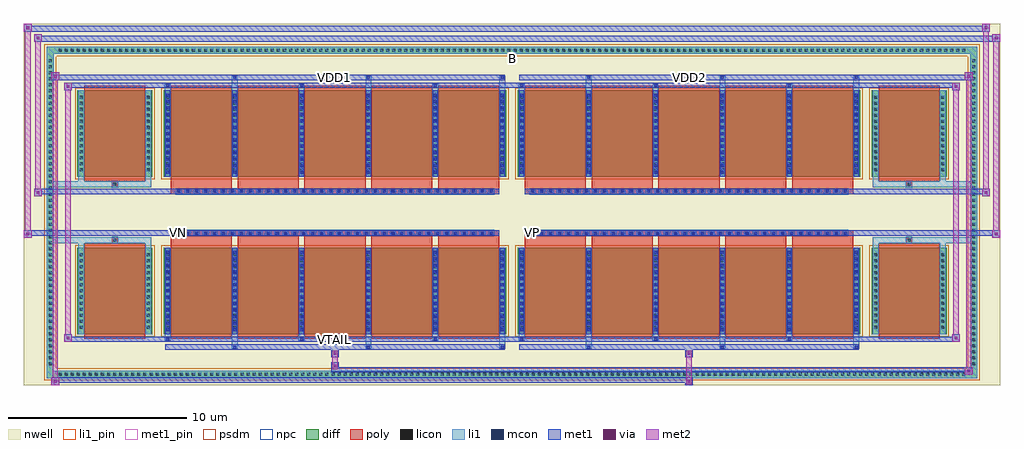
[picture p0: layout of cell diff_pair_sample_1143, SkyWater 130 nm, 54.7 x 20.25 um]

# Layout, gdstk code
import gdstk
lib = gdstk.Library(unit=1e-6, precision=5e-09)
def R(c, l, rs):  # rectangles x0, y0, x1, y1
    for r in rs: c.add(gdstk.rectangle(r[:2], r[2:], *l))
def A(c, l, x, y, w, h, nx, ny, dx, dy):  # array of equal rectangles
    R(c, l, [(x+i*dx, y+j*dy, x+i*dx+w, y+j*dy+h) for i in range(nx) for j in range(ny)])
def P(c, l, *ps):  # polygons
    for p in ps: c.add(gdstk.Polygon(p, *l))
nwell = (64, 20)
diff = (65, 20)
poly = (66, 20)
licon = (66, 44)
li1_pin = (67, 16)
li1 = (67, 20)
mcon = (67, 44)
met1_pin = (68, 16)
met1 = (68, 20)
via = (68, 44)
met2 = (69, 20)
psdm = (94, 20)
npc = (95, 20)

diff_pair_sample_1143 = lib.new_cell('diff_pair_sample_1143')
R(diff_pair_sample_1143, nwell, [(-27.35,-9.69,27.35,10.56), (-24.67,-7.88,-0.01,-0.8), (0.01,-7.88,24.67,-0.8), (-24.67,0.8,-0.01,7.88), (0.01,0.8,24.67,7.88)])
A(diff_pair_sample_1143, diff, -25.535, -9.29, 0.41, 0.41, 150, 2, 0.34, 18.17)
A(diff_pair_sample_1143, diff, -26.08, -8.705, 0.41, 0.41, 1, 51, 0, 0.34)
A(diff_pair_sample_1143, diff, 25.67, -8.705, 0.41, 0.41, 1, 51, 0, 0.34)
R(diff_pair_sample_1143, diff, [(-25.535,-9.29,25.535,-8.88), (-26.08,-8.705,-25.67,8.705), (25.67,-8.705,26.08,8.705), (-24.36,-6.835,-20.16,-1.985), (-19.52,-6.835,-0.32,-1.985), (0.32,-6.835,19.52,-1.985), (20.16,-6.835,24.36,-1.985), (-24.36,1.985,-20.16,6.835), (-19.52,1.985,-0.32,6.835), (0.32,1.985,19.52,6.835), (20.16,1.985,24.36,6.835), (-25.535,8.88,25.535,9.29)])
P(diff_pair_sample_1143, diff, [(26.08,9.29),(-26.08,9.29),(-26.08,-8.88),(-25.67,-8.88),(-25.67,8.88),(25.67,8.88),(25.67,-8.88),(-25.67,-8.88),(-26.08,-8.88),(-26.08,-9.29),(26.08,-9.29)])
A(diff_pair_sample_1143, poly, -19.13, -7.085, 3.42, 5.35, 5, 2, 3.75, 8.82)
A(diff_pair_sample_1143, poly, 0.71, -7.085, 3.42, 5.35, 5, 2, 3.75, 8.82)
A(diff_pair_sample_1143, poly, -19.13, -1.735, 3.42, 0.405, 5, 2, 3.75, 3.065)
A(diff_pair_sample_1143, poly, 0.71, -1.735, 3.42, 0.405, 5, 2, 3.75, 3.065)
A(diff_pair_sample_1143, poly, -18.835, -1.33, 0.33, 0.33, 36, 2, 0.5, 2.33)
A(diff_pair_sample_1143, poly, 1.005, -1.33, 0.33, 0.33, 36, 2, 0.5, 2.33)
R(diff_pair_sample_1143, poly, [(-23.97,-7.085,-20.55,-1.735), (20.55,-7.085,23.97,-1.735), (-22.425,-1.735,-22.095,-1.405), (-22.425,-1.735,-22.095,-1.405), (22.095,-1.735,22.425,-1.405), (22.095,-1.735,22.425,-1.405), (-19.13,-1.33,-0.71,-1), (0.71,-1.33,19.13,-1), (-19.13,1,-0.71,1.33), (0.71,1,19.13,1.33), (-22.425,1.405,-22.095,1.735), (-22.425,1.405,-22.095,1.735), (22.095,1.405,22.425,1.735), (22.095,1.405,22.425,1.735), (-23.97,1.735,-20.55,7.085), (20.55,1.735,23.97,7.085)])
A(diff_pair_sample_1143, licon, -25.415, -9.17, 0.17, 0.17, 150, 2, 0.34, 18.17)
A(diff_pair_sample_1143, licon, -25.96, -8.585, 0.17, 0.17, 1, 51, 0, 0.34)
A(diff_pair_sample_1143, licon, 25.79, -8.585, 0.17, 0.17, 1, 51, 0, 0.34)
A(diff_pair_sample_1143, licon, -24.22, -6.535, 0.17, 0.17, 1, 13, 0, 0.34)
A(diff_pair_sample_1143, licon, -20.47, -6.535, 0.17, 0.17, 1, 13, 0, 0.34)
A(diff_pair_sample_1143, licon, -19.38, -6.535, 0.17, 0.17, 6, 13, 3.75, 0.34)
A(diff_pair_sample_1143, licon, 0.46, -6.535, 0.17, 0.17, 6, 13, 3.75, 0.34)
A(diff_pair_sample_1143, licon, 20.3, -6.535, 0.17, 0.17, 1, 13, 0, 0.34)
A(diff_pair_sample_1143, licon, 24.05, -6.535, 0.17, 0.17, 1, 13, 0, 0.34)
A(diff_pair_sample_1143, licon, -18.755, -1.25, 0.17, 0.17, 36, 2, 0.5, 2.33)
A(diff_pair_sample_1143, licon, 1.085, -1.25, 0.17, 0.17, 36, 2, 0.5, 2.33)
A(diff_pair_sample_1143, licon, -24.22, 2.285, 0.17, 0.17, 1, 13, 0, 0.34)
A(diff_pair_sample_1143, licon, -20.47, 2.285, 0.17, 0.17, 1, 13, 0, 0.34)
A(diff_pair_sample_1143, licon, -19.38, 2.285, 0.17, 0.17, 6, 13, 3.75, 0.34)
A(diff_pair_sample_1143, licon, 0.46, 2.285, 0.17, 0.17, 6, 13, 3.75, 0.34)
A(diff_pair_sample_1143, licon, 20.3, 2.285, 0.17, 0.17, 1, 13, 0, 0.34)
A(diff_pair_sample_1143, licon, 24.05, 2.285, 0.17, 0.17, 1, 13, 0, 0.34)
R(diff_pair_sample_1143, licon, [(-22.345,-1.655,-22.175,-1.485), (22.175,-1.655,22.345,-1.485), (-22.345,1.485,-22.175,1.655), (22.175,1.485,22.345,1.655)])
R(diff_pair_sample_1143, li1_pin, [(-0.25,8.38,0.25,8.88)])
A(diff_pair_sample_1143, li1, -25.495, -9.25, 0.33, 0.33, 150, 2, 0.34, 18.17)
A(diff_pair_sample_1143, li1, -26.04, -8.665, 0.33, 0.33, 1, 51, 0, 0.34)
A(diff_pair_sample_1143, li1, 25.71, -8.665, 0.33, 0.33, 1, 51, 0, 0.34)
A(diff_pair_sample_1143, li1, -15.71, -7.64, 0.33, 0.805, 3, 2, 7.5, 14.475)
A(diff_pair_sample_1143, li1, -15.63, -7.64, 0.17, 0.17, 3, 2, 7.5, 15.11)
A(diff_pair_sample_1143, li1, 4.13, -7.64, 0.33, 0.805, 3, 2, 7.5, 14.475)
A(diff_pair_sample_1143, li1, 4.21, -7.64, 0.17, 0.17, 3, 2, 7.5, 15.11)
A(diff_pair_sample_1143, li1, -19.46, -7.21, 0.33, 0.375, 3, 2, 7.5, 14.045)
A(diff_pair_sample_1143, li1, -19.38, -7.21, 0.17, 0.17, 3, 2, 7.5, 14.25)
A(diff_pair_sample_1143, li1, 0.38, -7.21, 0.33, 0.375, 3, 2, 7.5, 14.045)
A(diff_pair_sample_1143, li1, 0.46, -7.21, 0.17, 0.17, 3, 2, 7.5, 14.25)
A(diff_pair_sample_1143, li1, -19.46, -6.835, 0.33, 4.85, 6, 2, 3.75, 8.82)
A(diff_pair_sample_1143, li1, 0.38, -6.835, 0.33, 4.85, 6, 2, 3.75, 8.82)
A(diff_pair_sample_1143, li1, -19.38, -6.655, 0.17, 0.17, 6, 13, 3.75, 0.36)
A(diff_pair_sample_1143, li1, -19.38, -6.655, 0.17, 4.49, 6, 2, 3.75, 8.82)
A(diff_pair_sample_1143, li1, 0.46, -6.655, 0.17, 0.17, 6, 13, 3.75, 0.36)
A(diff_pair_sample_1143, li1, 0.46, -6.655, 0.17, 4.49, 6, 2, 3.75, 8.82)
A(diff_pair_sample_1143, li1, -24.3, -6.615, 0.33, 0.33, 1, 13, 0, 0.34)
A(diff_pair_sample_1143, li1, -20.55, -6.615, 0.33, 0.33, 1, 13, 0, 0.34)
A(diff_pair_sample_1143, li1, -19.46, -6.615, 0.33, 0.33, 6, 13, 3.75, 0.34)
A(diff_pair_sample_1143, li1, 0.38, -6.615, 0.33, 0.33, 6, 13, 3.75, 0.34)
A(diff_pair_sample_1143, li1, 20.22, -6.615, 0.33, 0.33, 1, 13, 0, 0.34)
A(diff_pair_sample_1143, li1, 23.97, -6.615, 0.33, 0.33, 1, 13, 0, 0.34)
A(diff_pair_sample_1143, li1, -18.835, -1.33, 0.33, 0.33, 36, 2, 0.5, 2.33)
A(diff_pair_sample_1143, li1, 1.005, -1.33, 0.33, 0.33, 36, 2, 0.5, 2.33)
A(diff_pair_sample_1143, li1, -19.38, 2.165, 0.17, 0.17, 6, 13, 3.75, 0.36)
A(diff_pair_sample_1143, li1, 0.46, 2.165, 0.17, 0.17, 6, 13, 3.75, 0.36)
A(diff_pair_sample_1143, li1, -24.3, 2.205, 0.33, 0.33, 1, 13, 0, 0.34)
A(diff_pair_sample_1143, li1, -20.55, 2.205, 0.33, 0.33, 1, 13, 0, 0.34)
A(diff_pair_sample_1143, li1, -19.46, 2.205, 0.33, 0.33, 6, 13, 3.75, 0.34)
A(diff_pair_sample_1143, li1, 0.38, 2.205, 0.33, 0.33, 6, 13, 3.75, 0.34)
A(diff_pair_sample_1143, li1, 20.22, 2.205, 0.33, 0.33, 1, 13, 0, 0.34)
A(diff_pair_sample_1143, li1, 23.97, 2.205, 0.33, 0.33, 1, 13, 0, 0.34)
R(diff_pair_sample_1143, li1, [(-26.08,-9.29,-25.67,-8.88), (-26.08,-9.29,-25.67,-8.88), (-25.67,-9.29,25.67,-8.88), (25.67,-9.29,26.08,-8.88), (25.67,-9.29,26.08,-8.88), (-26.08,-8.88,-25.67,8.88), (25.67,-8.88,26.08,8.88), (-24.3,-6.835,-23.97,-1.985), (-20.55,-6.835,-20.22,-1.985), (20.22,-6.835,20.55,-1.985), (23.97,-6.835,24.3,-1.985), (-24.3,-1.985,-23.97,-1.405), (-20.55,-1.985,-20.22,-1.405), (20.22,-1.985,20.55,-1.405), (23.97,-1.985,24.3,-1.405), (-26.08,-1.735,-22.425,-1.405), (-24.3,-1.735,-22.425,-1.405), (-22.425,-1.735,-22.095,-1.405), (-22.095,-1.735,-20.22,-1.405), (20.22,-1.735,22.095,-1.405), (22.095,-1.735,22.425,-1.405), (22.095,-1.735,26.08,-1.405), (22.425,-1.735,24.3,-1.405), (-26.08,1.405,-22.425,1.735), (-24.3,1.405,-22.425,1.735), (-24.3,1.405,-23.97,1.985), (-22.425,1.405,-22.095,1.735), (-22.095,1.405,-20.22,1.735), (-20.55,1.405,-20.22,1.985), (20.22,1.405,22.095,1.735), (20.22,1.405,20.55,1.985), (22.095,1.405,22.425,1.735), (22.095,1.405,26.08,1.735), (22.425,1.405,24.3,1.735), (23.97,1.405,24.3,1.985), (-24.3,1.985,-23.97,6.835), (-20.55,1.985,-20.22,6.835), (20.22,1.985,20.55,6.835), (23.97,1.985,24.3,6.835), (-26.08,8.88,-25.67,9.29), (-26.08,8.88,-25.67,9.29), (-25.67,8.88,25.67,9.29), (25.67,8.88,26.08,9.29), (25.67,8.88,26.08,9.29)])
A(diff_pair_sample_1143, mcon, -15.63, -7.64, 0.17, 0.17, 3, 2, 7.5, 15.11)
A(diff_pair_sample_1143, mcon, 4.21, -7.64, 0.17, 0.17, 3, 2, 7.5, 15.11)
A(diff_pair_sample_1143, mcon, -19.38, -7.21, 0.17, 0.17, 3, 2, 7.5, 14.25)
A(diff_pair_sample_1143, mcon, 0.46, -7.21, 0.17, 0.17, 3, 2, 7.5, 14.25)
A(diff_pair_sample_1143, mcon, -19.38, -6.655, 0.17, 0.17, 6, 13, 3.75, 0.36)
A(diff_pair_sample_1143, mcon, 0.46, -6.655, 0.17, 0.17, 6, 13, 3.75, 0.36)
A(diff_pair_sample_1143, mcon, -18.755, -1.25, 0.17, 0.17, 36, 2, 0.5, 2.33)
A(diff_pair_sample_1143, mcon, 1.085, -1.25, 0.17, 0.17, 36, 2, 0.5, 2.33)
A(diff_pair_sample_1143, mcon, -19.38, 2.165, 0.17, 0.17, 6, 13, 3.75, 0.36)
A(diff_pair_sample_1143, mcon, 0.46, 2.165, 0.17, 0.17, 6, 13, 3.75, 0.36)
R(diff_pair_sample_1143, met1_pin, [(-10.055,-7.25,-9.785,-6.98), (-18.805,-1.29,-18.535,-1.02), (1.035,-1.29,1.305,-1.02), (-10.055,7.43,-9.785,7.7), (9.785,7.43,10.055,7.7)])
A(diff_pair_sample_1143, met1, -15.69, -7.7, 0.29, 0.29, 3, 2, 7.5, 15.11)
A(diff_pair_sample_1143, met1, 4.15, -7.7, 0.29, 0.29, 3, 2, 7.5, 15.11)
A(diff_pair_sample_1143, met1, -19.44, -7.27, 0.29, 0.29, 3, 2, 7.5, 14.25)
A(diff_pair_sample_1143, met1, 0.4, -7.27, 0.29, 0.29, 3, 2, 7.5, 14.25)
A(diff_pair_sample_1143, met1, -19.44, -6.835, 0.29, 4.85, 6, 2, 3.75, 8.82)
A(diff_pair_sample_1143, met1, 0.4, -6.835, 0.29, 4.85, 6, 2, 3.75, 8.82)
A(diff_pair_sample_1143, met1, -19.44, -6.715, 0.29, 0.29, 6, 13, 3.75, 0.36)
A(diff_pair_sample_1143, met1, 0.4, -6.715, 0.29, 0.29, 6, 13, 3.75, 0.36)
A(diff_pair_sample_1143, met1, -18.815, -1.31, 0.29, 0.29, 36, 2, 0.5, 2.33)
A(diff_pair_sample_1143, met1, 1.025, -1.31, 0.29, 0.29, 36, 2, 0.5, 2.33)
A(diff_pair_sample_1143, met1, -19.44, 2.105, 0.29, 0.29, 6, 13, 3.75, 0.36)
A(diff_pair_sample_1143, met1, 0.4, 2.105, 0.29, 0.29, 6, 13, 3.75, 0.36)
R(diff_pair_sample_1143, met1, [(-25.81,-9.69,-25.38,-9.26), (9.705,-9.69,10.135,-9.26), (-25.81,-9.55,10.135,-9.26), (25.38,-9.12,25.81,-8.69), (-10.135,-8.98,25.81,-8.69), (-10.135,-8.84,-9.705,-8.41), (-10.135,-8.13,-9.705,-7.7), (9.705,-8.13,10.135,-7.7), (-19.44,-7.7,-0.4,-7.41), (0.4,-7.7,19.44,-7.41), (-25.1,-7.27,-24.67,-6.84), (-25.1,-7.27,-19.44,-6.98), (-19.44,-7.27,-0.4,-6.98), (-0.4,-7.27,0.4,-6.98), (0.4,-7.27,19.44,-6.98), (19.44,-7.27,25.1,-6.98), (24.67,-7.27,25.1,-6.84), (-27.35,-1.43,-26.92,-1), (26.92,-1.43,27.35,-1), (-27.35,-1.33,-0.71,-1), (-19.13,-1.33,-0.71,-1), (0.71,-1.33,19.13,-1), (0.71,-1.33,27.35,-1), (-26.78,0.9,-26.35,1.33), (26.35,0.9,26.78,1.33), (-26.78,1,-19.13,1.33), (-19.13,1,-0.71,1.33), (0.71,1,19.13,1.33), (19.13,1,26.78,1.33), (-25.1,6.84,-24.67,7.27), (24.67,6.84,25.1,7.27), (-25.1,6.98,-19.44,7.27), (-19.44,6.98,-0.4,7.27), (-0.4,6.98,0.4,7.27), (0.4,6.98,19.44,7.27), (19.44,6.98,25.1,7.27), (-25.81,7.41,-25.38,7.84), (-25.81,7.41,-19.44,7.7), (-19.44,7.41,-0.4,7.7), (0.4,7.41,19.44,7.7), (19.44,7.41,25.81,7.7), (25.38,7.41,25.81,7.84), (-26.78,9.56,-26.35,9.99), (-26.78,9.56,-24.67,9.89), (-24.67,9.56,24.67,9.89), (24.67,9.56,27.35,9.89), (26.92,9.56,27.35,9.99), (-27.35,10.13,-26.92,10.56), (-27.35,10.13,-24.67,10.46), (-24.67,10.13,24.67,10.46), (24.67,10.13,26.78,10.46), (26.35,10.13,26.78,10.56)])
R(diff_pair_sample_1143, via, [(-25.67,-9.55,-25.52,-9.4), (9.845,-9.55,9.995,-9.4), (25.52,-8.98,25.67,-8.83), (-9.995,-8.7,-9.845,-8.55), (-9.995,-7.99,-9.845,-7.84), (9.845,-7.99,9.995,-7.84), (-24.96,-7.13,-24.81,-6.98), (24.81,-7.13,24.96,-6.98), (-27.21,-1.29,-27.06,-1.14), (27.06,-1.29,27.21,-1.14), (-26.64,1.04,-26.49,1.19), (26.49,1.04,26.64,1.19), (-24.96,6.98,-24.81,7.13), (24.81,6.98,24.96,7.13), (-25.67,7.55,-25.52,7.7), (25.52,7.55,25.67,7.7), (-26.64,9.7,-26.49,9.85), (27.06,9.7,27.21,9.85), (-27.21,10.27,-27.06,10.42), (26.49,10.27,26.64,10.42)])
R(diff_pair_sample_1143, met2, [(-25.81,-9.69,-25.38,-9.26), (-25.74,-9.69,-25.45,7.84), (-25.45,-9.69,-25.38,-9.26), (-25.76,-9.64,-25.43,-9.31), (9.755,-9.64,10.085,-9.31), (9.755,-9.31,10.085,-8.08), (25.38,-9.12,25.81,-8.69), (25.45,-9.12,25.74,7.84), (25.74,-9.12,25.81,-8.69), (25.43,-9.07,25.76,-8.74), (-10.085,-8.79,-9.755,-8.46), (-10.085,-8.46,-9.755,-8.08), (-10.085,-8.08,-9.755,-7.75), (9.755,-8.08,10.085,-7.75), (-25.1,-7.27,-24.67,-6.84), (-25.03,-7.27,-24.74,7.27), (-24.74,-7.27,-24.67,-6.84), (24.67,-7.27,25.1,-6.84), (24.74,-7.27,25.03,7.27), (25.03,-7.27,25.1,-6.84), (-25.05,-7.22,-24.72,-6.89), (24.72,-7.22,25.05,-6.89), (-27.35,-1.43,-26.92,-1), (-27.3,-1.43,-26.97,10.56), (-26.97,-1.43,-26.92,-1), (26.92,-1.43,27.35,-1), (26.97,-1.43,27.3,9.99), (27.3,-1.43,27.35,-1), (-27.3,-1.38,-26.97,-1.05), (26.97,-1.38,27.3,-1.05), (-26.78,0.9,-26.35,1.33), (-26.73,0.9,-26.4,9.99), (-26.4,0.9,-26.35,1.33), (26.35,0.9,26.78,1.33), (26.4,0.9,26.73,10.56), (26.73,0.9,26.78,1.33), (-26.73,0.95,-26.4,1.28), (26.4,0.95,26.73,1.28), (-25.1,6.84,-24.67,7.27), (-24.74,6.84,-24.67,7.27), (24.67,6.84,25.1,7.27), (25.03,6.84,25.1,7.27), (-25.05,6.89,-24.72,7.22), (24.72,6.89,25.05,7.22), (-25.81,7.41,-25.38,7.84), (-25.45,7.41,-25.38,7.84), (25.38,7.41,25.81,7.84), (25.74,7.41,25.81,7.84), (-25.76,7.46,-25.43,7.79), (25.43,7.46,25.76,7.79), (-26.78,9.56,-26.35,9.99), (-26.4,9.56,-26.35,9.99), (26.92,9.56,27.35,9.99), (27.3,9.56,27.35,9.99), (-26.73,9.61,-26.4,9.94), (26.97,9.61,27.3,9.94), (-27.35,10.13,-26.92,10.56), (-26.97,10.13,-26.92,10.56), (26.35,10.13,26.78,10.56), (26.73,10.13,26.78,10.56), (-27.3,10.18,-26.97,10.51), (26.4,10.18,26.73,10.51)])
R(diff_pair_sample_1143, psdm, [(-24.49,-6.965,-20.03,-1.855), (-19.65,-6.965,-0.19,-1.855), (0.19,-6.965,19.65,-1.855), (20.03,-6.965,24.49,-1.855), (-24.49,1.855,-20.03,6.965), (-19.65,1.855,-0.19,6.965), (0.19,1.855,19.65,6.965), (20.03,1.855,24.49,6.965)])
P(diff_pair_sample_1143, psdm, [(26.21,9.42),(-26.21,9.42),(-26.21,-8.75),(-25.54,-8.75),(-25.54,8.75),(25.54,8.75),(25.54,-8.75),(-25.54,-8.75),(-26.21,-8.75),(-26.21,-9.42),(26.21,-9.42)])
A(diff_pair_sample_1143, npc, -18.855, -1.35, 0.37, 0.37, 36, 2, 0.5, 2.33)
A(diff_pair_sample_1143, npc, 0.985, -1.35, 0.37, 0.37, 36, 2, 0.5, 2.33)
R(diff_pair_sample_1143, npc, [(-22.445,-1.755,-22.075,-1.385), (22.075,-1.755,22.445,-1.385), (-18.855,-1.35,-17.985,-0.98), (-18.855,-1.35,-17.985,-0.98), (-18.355,-1.35,-17.485,-0.98), (-18.355,-1.35,-17.485,-0.98), (-17.855,-1.35,-16.985,-0.98), (-17.855,-1.35,-16.985,-0.98), (-17.355,-1.35,-16.485,-0.98), (-17.355,-1.35,-16.485,-0.98), (-16.855,-1.35,-15.985,-0.98), (-16.855,-1.35,-15.985,-0.98), (-16.355,-1.35,-15.485,-0.98), (-16.355,-1.35,-15.485,-0.98), (-15.855,-1.35,-14.985,-0.98), (-15.855,-1.35,-14.985,-0.98), (-15.355,-1.35,-14.485,-0.98), (-15.355,-1.35,-14.485,-0.98), (-14.855,-1.35,-13.985,-0.98), (-14.855,-1.35,-13.985,-0.98), (-14.355,-1.35,-13.485,-0.98), (-14.355,-1.35,-13.485,-0.98), (-13.855,-1.35,-12.985,-0.98), (-13.855,-1.35,-12.985,-0.98), (-13.355,-1.35,-12.485,-0.98), (-13.355,-1.35,-12.485,-0.98), (-12.855,-1.35,-11.985,-0.98), (-12.855,-1.35,-11.985,-0.98), (-12.355,-1.35,-11.485,-0.98), (-12.355,-1.35,-11.485,-0.98), (-11.855,-1.35,-10.985,-0.98), (-11.855,-1.35,-10.985,-0.98), (-11.355,-1.35,-10.485,-0.98), (-11.355,-1.35,-10.485,-0.98), (-10.855,-1.35,-9.985,-0.98), (-10.855,-1.35,-9.985,-0.98), (-10.355,-1.35,-9.485,-0.98), (-10.355,-1.35,-9.485,-0.98), (-9.855,-1.35,-8.985,-0.98), (-9.855,-1.35,-8.985,-0.98), (-9.355,-1.35,-8.485,-0.98), (-9.355,-1.35,-8.485,-0.98), (-8.855,-1.35,-7.985,-0.98), (-8.855,-1.35,-7.985,-0.98), (-8.355,-1.35,-7.485,-0.98), (-8.355,-1.35,-7.485,-0.98), (-7.855,-1.35,-6.985,-0.98), (-7.855,-1.35,-6.985,-0.98), (-7.355,-1.35,-6.485,-0.98), (-7.355,-1.35,-6.485,-0.98), (-6.855,-1.35,-5.985,-0.98), (-6.855,-1.35,-5.985,-0.98), (-6.355,-1.35,-5.485,-0.98), (-6.355,-1.35,-5.485,-0.98), (-5.855,-1.35,-4.985,-0.98), (-5.855,-1.35,-4.985,-0.98), (-5.355,-1.35,-4.485,-0.98), (-5.355,-1.35,-4.485,-0.98), (-4.855,-1.35,-3.985,-0.98), (-4.855,-1.35,-3.985,-0.98), (-4.355,-1.35,-3.485,-0.98), (-4.355,-1.35,-3.485,-0.98), (-3.855,-1.35,-2.985,-0.98), (-3.855,-1.35,-2.985,-0.98), (-3.355,-1.35,-2.485,-0.98), (-3.355,-1.35,-2.485,-0.98), (-2.855,-1.35,-1.985,-0.98), (-2.855,-1.35,-1.985,-0.98), (-2.355,-1.35,-1.485,-0.98), (-2.355,-1.35,-1.485,-0.98), (-1.855,-1.35,-0.985,-0.98), (-1.855,-1.35,-0.985,-0.98), (0.985,-1.35,1.855,-0.98), (0.985,-1.35,1.855,-0.98), (1.485,-1.35,2.355,-0.98), (1.485,-1.35,2.355,-0.98), (1.985,-1.35,2.855,-0.98), (1.985,-1.35,2.855,-0.98), (2.485,-1.35,3.355,-0.98), (2.485,-1.35,3.355,-0.98), (2.985,-1.35,3.855,-0.98), (2.985,-1.35,3.855,-0.98), (3.485,-1.35,4.355,-0.98), (3.485,-1.35,4.355,-0.98), (3.985,-1.35,4.855,-0.98), (3.985,-1.35,4.855,-0.98), (4.485,-1.35,5.355,-0.98), (4.485,-1.35,5.355,-0.98), (4.985,-1.35,5.855,-0.98), (4.985,-1.35,5.855,-0.98), (5.485,-1.35,6.355,-0.98), (5.485,-1.35,6.355,-0.98), (5.985,-1.35,6.855,-0.98), (5.985,-1.35,6.855,-0.98), (6.485,-1.35,7.355,-0.98), (6.485,-1.35,7.355,-0.98), (6.985,-1.35,7.855,-0.98), (6.985,-1.35,7.855,-0.98), (7.485,-1.35,8.355,-0.98), (7.485,-1.35,8.355,-0.98), (7.985,-1.35,8.855,-0.98), (7.985,-1.35,8.855,-0.98), (8.485,-1.35,9.355,-0.98), (8.485,-1.35,9.355,-0.98), (8.985,-1.35,9.855,-0.98), (8.985,-1.35,9.855,-0.98), (9.485,-1.35,10.355,-0.98), (9.485,-1.35,10.355,-0.98), (9.985,-1.35,10.855,-0.98), (9.985,-1.35,10.855,-0.98), (10.485,-1.35,11.355,-0.98), (10.485,-1.35,11.355,-0.98), (10.985,-1.35,11.855,-0.98), (10.985,-1.35,11.855,-0.98), (11.485,-1.35,12.355,-0.98), (11.485,-1.35,12.355,-0.98), (11.985,-1.35,12.855,-0.98), (11.985,-1.35,12.855,-0.98), (12.485,-1.35,13.355,-0.98), (12.485,-1.35,13.355,-0.98), (12.985,-1.35,13.855,-0.98), (12.985,-1.35,13.855,-0.98), (13.485,-1.35,14.355,-0.98), (13.485,-1.35,14.355,-0.98), (13.985,-1.35,14.855,-0.98), (13.985,-1.35,14.855,-0.98), (14.485,-1.35,15.355,-0.98), (14.485,-1.35,15.355,-0.98), (14.985,-1.35,15.855,-0.98), (14.985,-1.35,15.855,-0.98), (15.485,-1.35,16.355,-0.98), (15.485,-1.35,16.355,-0.98), (15.985,-1.35,16.855,-0.98), (15.985,-1.35,16.855,-0.98), (16.485,-1.35,17.355,-0.98), (16.485,-1.35,17.355,-0.98), (16.985,-1.35,17.855,-0.98), (16.985,-1.35,17.855,-0.98), (17.485,-1.35,18.355,-0.98), (17.485,-1.35,18.355,-0.98), (17.985,-1.35,18.855,-0.98), (17.985,-1.35,18.855,-0.98), (-18.855,0.98,-17.985,1.35), (-18.855,0.98,-17.985,1.35), (-18.355,0.98,-17.485,1.35), (-18.355,0.98,-17.485,1.35), (-17.855,0.98,-16.985,1.35), (-17.855,0.98,-16.985,1.35), (-17.355,0.98,-16.485,1.35), (-17.355,0.98,-16.485,1.35), (-16.855,0.98,-15.985,1.35), (-16.855,0.98,-15.985,1.35), (-16.355,0.98,-15.485,1.35), (-16.355,0.98,-15.485,1.35), (-15.855,0.98,-14.985,1.35), (-15.855,0.98,-14.985,1.35), (-15.355,0.98,-14.485,1.35), (-15.355,0.98,-14.485,1.35), (-14.855,0.98,-13.985,1.35), (-14.855,0.98,-13.985,1.35), (-14.355,0.98,-13.485,1.35), (-14.355,0.98,-13.485,1.35), (-13.855,0.98,-12.985,1.35), (-13.855,0.98,-12.985,1.35), (-13.355,0.98,-12.485,1.35), (-13.355,0.98,-12.485,1.35), (-12.855,0.98,-11.985,1.35), (-12.855,0.98,-11.985,1.35), (-12.355,0.98,-11.485,1.35), (-12.355,0.98,-11.485,1.35), (-11.855,0.98,-10.985,1.35), (-11.855,0.98,-10.985,1.35), (-11.355,0.98,-10.485,1.35), (-11.355,0.98,-10.485,1.35), (-10.855,0.98,-9.985,1.35), (-10.855,0.98,-9.985,1.35), (-10.355,0.98,-9.485,1.35), (-10.355,0.98,-9.485,1.35), (-9.855,0.98,-8.985,1.35), (-9.855,0.98,-8.985,1.35), (-9.355,0.98,-8.485,1.35), (-9.355,0.98,-8.485,1.35), (-8.855,0.98,-7.985,1.35), (-8.855,0.98,-7.985,1.35), (-8.355,0.98,-7.485,1.35), (-8.355,0.98,-7.485,1.35), (-7.855,0.98,-6.985,1.35), (-7.855,0.98,-6.985,1.35), (-7.355,0.98,-6.485,1.35), (-7.355,0.98,-6.485,1.35), (-6.855,0.98,-5.985,1.35), (-6.855,0.98,-5.985,1.35), (-6.355,0.98,-5.485,1.35), (-6.355,0.98,-5.485,1.35), (-5.855,0.98,-4.985,1.35), (-5.855,0.98,-4.985,1.35), (-5.355,0.98,-4.485,1.35), (-5.355,0.98,-4.485,1.35), (-4.855,0.98,-3.985,1.35), (-4.855,0.98,-3.985,1.35), (-4.355,0.98,-3.485,1.35), (-4.355,0.98,-3.485,1.35), (-3.855,0.98,-2.985,1.35), (-3.855,0.98,-2.985,1.35), (-3.355,0.98,-2.485,1.35), (-3.355,0.98,-2.485,1.35), (-2.855,0.98,-1.985,1.35), (-2.855,0.98,-1.985,1.35), (-2.355,0.98,-1.485,1.35), (-2.355,0.98,-1.485,1.35), (-1.855,0.98,-0.985,1.35), (-1.855,0.98,-0.985,1.35), (0.985,0.98,1.855,1.35), (0.985,0.98,1.855,1.35), (1.485,0.98,2.355,1.35), (1.485,0.98,2.355,1.35), (1.985,0.98,2.855,1.35), (1.985,0.98,2.855,1.35), (2.485,0.98,3.355,1.35), (2.485,0.98,3.355,1.35), (2.985,0.98,3.855,1.35), (2.985,0.98,3.855,1.35), (3.485,0.98,4.355,1.35), (3.485,0.98,4.355,1.35), (3.985,0.98,4.855,1.35), (3.985,0.98,4.855,1.35), (4.485,0.98,5.355,1.35), (4.485,0.98,5.355,1.35), (4.985,0.98,5.855,1.35), (4.985,0.98,5.855,1.35), (5.485,0.98,6.355,1.35), (5.485,0.98,6.355,1.35), (5.985,0.98,6.855,1.35), (5.985,0.98,6.855,1.35), (6.485,0.98,7.355,1.35), (6.485,0.98,7.355,1.35), (6.985,0.98,7.855,1.35), (6.985,0.98,7.855,1.35), (7.485,0.98,8.355,1.35), (7.485,0.98,8.355,1.35), (7.985,0.98,8.855,1.35), (7.985,0.98,8.855,1.35), (8.485,0.98,9.355,1.35), (8.485,0.98,9.355,1.35), (8.985,0.98,9.855,1.35), (8.985,0.98,9.855,1.35), (9.485,0.98,10.355,1.35), (9.485,0.98,10.355,1.35), (9.985,0.98,10.855,1.35), (9.985,0.98,10.855,1.35), (10.485,0.98,11.355,1.35), (10.485,0.98,11.355,1.35), (10.985,0.98,11.855,1.35), (10.985,0.98,11.855,1.35), (11.485,0.98,12.355,1.35), (11.485,0.98,12.355,1.35), (11.985,0.98,12.855,1.35), (11.985,0.98,12.855,1.35), (12.485,0.98,13.355,1.35), (12.485,0.98,13.355,1.35), (12.985,0.98,13.855,1.35), (12.985,0.98,13.855,1.35), (13.485,0.98,14.355,1.35), (13.485,0.98,14.355,1.35), (13.985,0.98,14.855,1.35), (13.985,0.98,14.855,1.35), (14.485,0.98,15.355,1.35), (14.485,0.98,15.355,1.35), (14.985,0.98,15.855,1.35), (14.985,0.98,15.855,1.35), (15.485,0.98,16.355,1.35), (15.485,0.98,16.355,1.35), (15.985,0.98,16.855,1.35), (15.985,0.98,16.855,1.35), (16.485,0.98,17.355,1.35), (16.485,0.98,17.355,1.35), (16.985,0.98,17.855,1.35), (16.985,0.98,17.855,1.35), (17.485,0.98,18.355,1.35), (17.485,0.98,18.355,1.35), (17.985,0.98,18.855,1.35), (17.985,0.98,18.855,1.35), (-22.445,1.385,-22.075,1.755), (22.075,1.385,22.445,1.755)])
diff_pair_sample_1143.add(gdstk.Label('VTAIL', (-9.92,-7.115), layer=68, texttype=5))
diff_pair_sample_1143.add(gdstk.Label('VN', (-18.67,-1.155), layer=68, texttype=5))
diff_pair_sample_1143.add(gdstk.Label('VP', (1.17,-1.155), layer=68, texttype=5))
diff_pair_sample_1143.add(gdstk.Label('B', (0,8.63), layer=67, texttype=5))
diff_pair_sample_1143.add(gdstk.Label('VDD2', (9.92,7.565), layer=68, texttype=5))
diff_pair_sample_1143.add(gdstk.Label('VDD1', (-9.92,7.565), layer=68, texttype=5))

lib.write_gds('diff_pair_sample_1143.gds')
